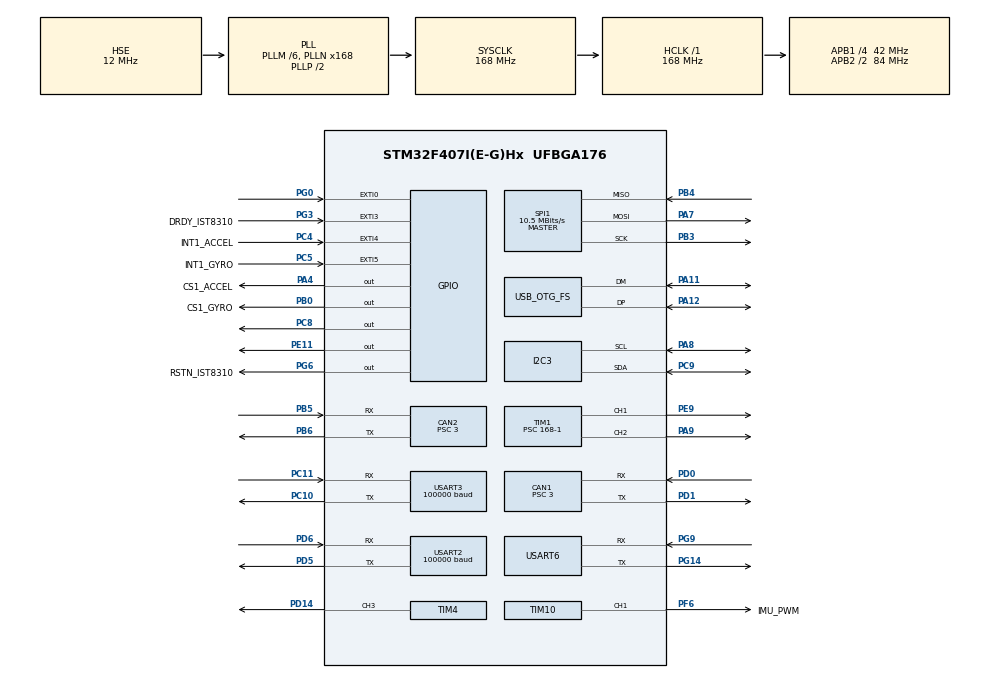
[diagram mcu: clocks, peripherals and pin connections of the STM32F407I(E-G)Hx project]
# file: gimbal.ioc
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CAN1.BS1=CAN_BS1_5TQ
CAN1.BS2=CAN_BS2_8TQ
CAN1.CalculateBaudRate=1000000
CAN1.CalculateTimeBit=1000
CAN1.CalculateTimeQuantum=71.42857142857143
CAN1.Prescaler=3
CAN2.BS1=CAN_BS1_5TQ
CAN2.BS2=CAN_BS2_8TQ
CAN2.CalculateBaudRate=1000000
CAN2.CalculateTimeBit=1000
CAN2.CalculateTimeQuantum=71.42857142857143
CAN2.Prescaler=3
Dma.Request0=USART3_RX
Dma.Request1=SPI1_RX
Dma.Request2=SPI1_TX
Dma.Request3=USART6_RX
Dma.Request4=USART6_TX
Dma.SPI1_RX.1.Direction=DMA_PERIPH_TO_MEMORY
Dma.SPI1_RX.1.FIFOMode=DMA_FIFOMODE_DISABLE
Dma.SPI1_RX.1.Instance=DMA2_Stream2
Dma.SPI1_RX.1.MemDataAlignment=DMA_MDATAALIGN_BYTE
Dma.SPI1_RX.1.MemInc=DMA_MINC_ENABLE
Dma.SPI1_RX.1.Mode=DMA_NORMAL
Dma.SPI1_RX.1.PeriphDataAlignment=DMA_PDATAALIGN_BYTE
Dma.SPI1_RX.1.PeriphInc=DMA_PINC_DISABLE
Dma.SPI1_RX.1.Priority=DMA_PRIORITY_VERY_HIGH
Dma.SPI1_TX.2.Direction=DMA_MEMORY_TO_PERIPH
Dma.SPI1_TX.2.FIFOMode=DMA_FIFOMODE_DISABLE
Dma.SPI1_TX.2.Instance=DMA2_Stream3
Dma.SPI1_TX.2.MemDataAlignment=DMA_MDATAALIGN_BYTE
Dma.SPI1_TX.2.MemInc=DMA_MINC_ENABLE
Dma.SPI1_TX.2.Mode=DMA_NORMAL
Dma.SPI1_TX.2.PeriphDataAlignment=DMA_PDATAALIGN_BYTE
Dma.SPI1_TX.2.PeriphInc=DMA_PINC_DISABLE
Dma.SPI1_TX.2.Priority=DMA_PRIORITY_HIGH
Dma.USART3_RX.0.Direction=DMA_PERIPH_TO_MEMORY
Dma.USART3_RX.0.FIFOMode=DMA_FIFOMODE_DISABLE
Dma.USART3_RX.0.Instance=DMA1_Stream1
Dma.USART3_RX.0.MemDataAlignment=DMA_MDATAALIGN_BYTE
Dma.USART3_RX.0.MemInc=DMA_MINC_ENABLE
Dma.USART3_RX.0.Mode=DMA_CIRCULAR
Dma.USART3_RX.0.PeriphDataAlignment=DMA_PDATAALIGN_BYTE
Dma.USART3_RX.0.PeriphInc=DMA_PINC_DISABLE
Dma.USART3_RX.0.Priority=DMA_PRIORITY_MEDIUM
Dma.USART6_RX.3.Direction=DMA_PERIPH_TO_MEMORY
Dma.USART6_RX.3.FIFOMode=DMA_FIFOMODE_DISABLE
Dma.USART6_RX.3.Instance=DMA2_Stream1
Dma.USART6_RX.3.MemDataAlignment=DMA_MDATAALIGN_BYTE
Dma.USART6_RX.3.MemInc=DMA_MINC_ENABLE
Dma.USART6_RX.3.Mode=DMA_CIRCULAR
Dma.USART6_RX.3.PeriphDataAlignment=DMA_PDATAALIGN_BYTE
Dma.USART6_RX.3.PeriphInc=DMA_PINC_DISABLE
Dma.USART6_RX.3.Priority=DMA_PRIORITY_HIGH
Dma.USART6_TX.4.Direction=DMA_MEMORY_TO_PERIPH
Dma.USART6_TX.4.FIFOMode=DMA_FIFOMODE_DISABLE
Dma.USART6_TX.4.Instance=DMA2_Stream6
Dma.USART6_TX.4.MemDataAlignment=DMA_MDATAALIGN_BYTE
Dma.USART6_TX.4.MemInc=DMA_MINC_ENABLE
Dma.USART6_TX.4.Mode=DMA_NORMAL
Dma.USART6_TX.4.PeriphDataAlignment=DMA_PDATAALIGN_BYTE
Dma.USART6_TX.4.PeriphInc=DMA_PINC_DISABLE
Dma.USART6_TX.4.Priority=DMA_PRIORITY_MEDIUM
I2C3.I2C_Mode=I2C_Fast
Mcu.Family=STM32F4
Mcu.Name=STM32F407I(E-G)Hx
Mcu.Package=UFBGA176
NVIC.CAN1_RX0_IRQn=true\:1\:0\:true\:false\:true\:true\:true\:true
NVIC.CAN1_TX_IRQn=true\:1\:0\:true\:false\:true\:true\:true\:true
NVIC.CAN2_RX0_IRQn=true\:1\:0\:true\:false\:true\:true\:true\:true
NVIC.DMA1_Stream1_IRQn=true\:0\:0\:false\:false\:true\:false\:true\:true
NVIC.DMA2_Stream1_IRQn=true\:0\:0\:false\:false\:true\:false\:true\:true
NVIC.DMA2_Stream2_IRQn=true\:0\:0\:false\:false\:false\:false\:true\:true
NVIC.DMA2_Stream3_IRQn=true\:0\:0\:false\:false\:true\:false\:true\:true
NVIC.DMA2_Stream6_IRQn=true\:0\:0\:false\:false\:true\:false\:true\:true
NVIC.EXTI0_IRQn=true\:2\:0\:true\:false\:true\:true\:true\:true
NVIC.EXTI3_IRQn=true\:1\:0\:true\:false\:true\:true\:true\:true
NVIC.EXTI4_IRQn=true\:1\:0\:true\:false\:true\:true\:true\:true
NVIC.EXTI9_5_IRQn=true\:1\:0\:true\:false\:true\:true\:true\:true
NVIC.OTG_FS_IRQn=true\:1\:0\:true\:false\:true\:true\:true\:true
NVIC.PriorityGroup=NVIC_PRIORITYGROUP_2
NVIC.TIM3_IRQn=true\:1\:0\:true\:false\:true\:true\:true\:true
NVIC.TIM4_IRQn=true\:3\:0\:true\:false\:true\:true\:true\:true
NVIC.TIM5_IRQn=true\:0\:0\:false\:false\:true\:true\:true\:true
NVIC.USART2_IRQn=true\:1\:0\:true\:false\:true\:true\:true\:true
NVIC.USART3_IRQn=true\:1\:0\:true\:false\:false\:true\:true\:true
NVIC.USART6_IRQn=true\:1\:0\:true\:false\:false\:true\:true\:true
PA11.Mode=Device_Only
PA11.Signal=USB_OTG_FS_DM
PA12.Mode=Device_Only
PA12.Signal=USB_OTG_FS_DP
PA13.Mode=Serial_Wire
PA13.Signal=SYS_JTMS-SWDIO
PA14.Mode=Serial_Wire
PA14.Signal=SYS_JTCK-SWCLK
PA4.GPIO_Label=CS1_ACCEL
PA4.GPIO_PuPd=GPIO_PULLUP
PA4.GPIO_Speed=GPIO_SPEED_FREQ_HIGH
PA4.PinState=GPIO_PIN_SET
PA4.Signal=GPIO_Output
PA7.GPIO_PuPd=GPIO_PULLUP
PA7.Mode=Full_Duplex_Master
PA7.Signal=SPI1_MOSI
PA8.Mode=I2C
PA8.Signal=I2C3_SCL
PA9.Signal=S_TIM1_CH2
PB0.GPIO_Label=CS1_GYRO
PB0.GPIO_ModeDefaultOutputPP=GPIO_MODE_OUTPUT_PP
PB0.GPIO_PuPd=GPIO_PULLUP
PB0.GPIO_Speed=GPIO_SPEED_FREQ_HIGH
PB0.PinState=GPIO_PIN_SET
PB0.Signal=GPIO_Output
PB3.GPIO_PuPd=GPIO_PULLUP
PB3.Mode=Full_Duplex_Master
PB3.Signal=SPI1_SCK
PB4.GPIO_PuPd=GPIO_PULLUP
PB4.Mode=Full_Duplex_Master
PB4.Signal=SPI1_MISO
PB5.Mode=CAN_Activate
PB5.Signal=CAN2_RX
PB6.Mode=CAN_Activate
PB6.Signal=CAN2_TX
PC10.Mode=Asynchronous
PC10.Signal=USART3_TX
PC11.Mode=Asynchronous
PC11.Signal=USART3_RX
PC4.GPIO_Label=INT1_ACCEL
PC4.GPIO_ModeDefaultEXTI=GPIO_MODE_IT_FALLING
PC4.GPIO_PuPd=GPIO_PULLUP
PC4.Signal=GPXTI4
PC5.GPIO_Label=INT1_GYRO
PC5.GPIO_ModeDefaultEXTI=GPIO_MODE_IT_FALLING
PC5.GPIO_PuPd=GPIO_PULLUP
PC5.Signal=GPXTI5
PC8.GPIO_PuPd=GPIO_PULLUP
PC8.GPIO_Speed=GPIO_SPEED_FREQ_HIGH
PC8.PinState=GPIO_PIN_SET
PC8.Signal=GPIO_Output
PC9.Mode=I2C
PC9.Signal=I2C3_SDA
PD0.Mode=CAN_Activate
PD0.Signal=CAN1_RX
PD1.Mode=CAN_Activate
PD1.Signal=CAN1_TX
PD14.Signal=S_TIM4_CH3
PD5.Mode=Asynchronous
PD5.Signal=USART2_TX
PD6.Mode=Asynchronous
PD6.Signal=USART2_RX
PE11.Signal=GPIO_Output
PE9.Signal=S_TIM1_CH1
PF6.GPIO_Label=IMU_PWM
PF6.GPIO_PuPd=GPIO_PULLUP
PF6.GPIO_Speed=GPIO_SPEED_FREQ_HIGH
PF6.Signal=S_TIM10_CH1
PG0.GPIO_PuPd=GPIO_PULLUP
PG0.Signal=GPXTI0
PG14.Mode=Asynchronous
PG14.Signal=USART6_TX
PG3.GPIO_Label=DRDY_IST8310
PG3.GPIO_ModeDefaultEXTI=GPIO_MODE_IT_FALLING
PG3.GPIO_PuPd=GPIO_PULLUP
PG3.Signal=GPXTI3
PG6.GPIO_Label=RSTN_IST8310
PG6.GPIO_PuPd=GPIO_PULLUP
PG6.GPIO_Speed=GPIO_SPEED_FREQ_HIGH
PG6.PinState=GPIO_PIN_SET
PG6.Signal=GPIO_Output
PG9.Mode=Asynchronous
PG9.Signal=USART6_RX
PH0-OSC_IN.Mode=HSE-External-Oscillator
PH0-OSC_IN.Signal=RCC_OSC_IN
PH1-OSC_OUT.Mode=HSE-External-Oscillator
PH1-OSC_OUT.Signal=RCC_OSC_OUT
ProjectManager.HeapSize=0x2000
ProjectManager.StackSize=0x2000
ProjectManager.TargetToolchain=MDK-ARM V5
RCC.48MHZClocksFreq_Value=48000000
RCC.AHBFreq_Value=168000000
RCC.APB1CLKDivider=RCC_HCLK_DIV4
RCC.APB1Freq_Value=42000000
RCC.APB1TimFreq_Value=84000000
RCC.APB2CLKDivider=RCC_HCLK_DIV2
RCC.APB2Freq_Value=84000000
RCC.APB2TimFreq_Value=168000000
RCC.CortexFreq_Value=168000000
RCC.HCLKFreq_Value=168000000
RCC.HSE_VALUE=12000000
RCC.HSI_VALUE=16000000
RCC.LSE_VALUE=32768
RCC.PLLM=6
RCC.PLLN=168
RCC.PLLQ=7
RCC.SYSCLKFreq_VALUE=168000000
RCC.SYSCLKSource=RCC_SYSCLKSOURCE_PLLCLK
RCC.VCOOutputFreq_Value=336000000
SH.S_TIM10_CH1.0=TIM10_CH1,PWM Generation1 CH1
SH.S_TIM1_CH1.0=TIM1_CH1,PWM Generation1 CH1
SH.S_TIM1_CH2.0=TIM1_CH2,PWM Generation2 CH2
SH.S_TIM4_CH3.0=TIM4_CH3,PWM Generation3 CH3
SPI1.BaudRatePrescaler=SPI_BAUDRATEPRESCALER_8
SPI1.CLKPhase=SPI_PHASE_2EDGE
SPI1.CLKPolarity=SPI_POLARITY_HIGH
SPI1.CalculateBaudRate=10.5 MBits/s
SPI1.Direction=SPI_DIRECTION_2LINES
SPI1.Mode=SPI_MODE_MASTER
SPI1.VirtualType=VM_MASTER
TIM1.Channel-PWM\ Generation1\ CH1=TIM_CHANNEL_1
TIM1.Channel-PWM\ Generation2\ CH2=TIM_CHANNEL_2
TIM1.Period=5000-1
TIM1.Prescaler=168-1
TIM10.Channel=TIM_CHANNEL_1
TIM10.OCFastMode_PWM=TIM_OCFAST_DISABLE
TIM10.OCPolarity_1=TIM_OCPOLARITY_HIGH
TIM10.Period=2000-1
TIM10.Prescaler=84-1
TIM3.AutoReloadPreload=TIM_AUTORELOAD_PRELOAD_ENABLE
TIM3.Period=84-1
TIM3.Prescaler=1000-1
TIM4.Channel-PWM\ Generation3\ CH3=TIM_CHANNEL_3
TIM4.Period=999
TIM4.Prescaler=0
TIM4.Pulse-PWM\ Generation3\ CH3=0
TIM5.AutoReloadPreload=TIM_AUTORELOAD_PRELOAD_ENABLE
TIM5.Period=84-1
TIM5.Prescaler=1000-1
TIM6.Period=1000-1
TIM6.Prescaler=840-1
TIM8.Period=5000-1
TIM8.Prescaler=168-1
USART2.BaudRate=100000
USART2.VirtualMode=VM_ASYNC
USART3.BaudRate=100000
USART3.VirtualMode=VM_ASYNC
USART6.VirtualMode=VM_ASYNC
USB_DEVICE.CLASS_NAME_FS=CDC
USB_DEVICE.VirtualMode-CDC_FS=Cdc
USB_DEVICE.VirtualModeFS=Cdc_FS
USB_OTG_FS.VirtualMode=Device_Only
VP_TIM10_VS_ClockSourceINT.Mode=Enable_Timer
VP_TIM1_VS_ClockSourceINT.Mode=Internal
VP_TIM3_VS_ClockSourceINT.Mode=Internal
VP_TIM4_VS_ClockSourceINT.Mode=Internal
VP_TIM5_VS_ClockSourceINT.Mode=Internal
VP_TIM6_VS_ClockSourceINT.Mode=Enable_Timer
VP_TIM8_VS_ClockSourceINT.Mode=Internal
VP_USB_DEVICE_VS_USB_DEVICE_CDC_FS.Mode=CDC_FS
board=custom

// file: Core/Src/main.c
/* USER CODE BEGIN Header */
/**
 ******************************************************************************
 * @file           : main.c
 * @brief          : Main program body
 ******************************************************************************
 * @attention
 *
 * <h2><center>&copy; Copyright (c) 2021 STMicroelectronics.
 * All rights reserved.</center></h2>
 *
 * This software component is licensed by ST under BSD 3-Clause license,
 * the "License"; You may not use this file except in compliance with the
 * License. You may obtain a copy of the License at:
 *                        opensource.org/licenses/BSD-3-Clause
 *
 ******************************************************************************
 */
/* USER CODE END Header */
#include "main.h"
#include "can.h"
#include "dma.h"
#include "i2c.h"
#include "spi.h"
#include "tim.h"
#include "usart.h"
#include "usb_device.h"
#include "gpio.h"

/* USER CODE BEGIN Includes */
#include "sent_task.h"
#include "led.h"
#include "bsp_can.h"
#include "delay.h"
#include "gimbal_task.h"
#include "chassis_task.h"
#include "shoot_task.h"
#include "bsp_imu.h"
#include "BMI088driver.h"
#include "calibrate_task.h"
#include "bsp_uart.h"
#include "blueteeth.h"
#include "referee.h"
#include "bsp_referee_uart.h"
#include "buzzer.h"
#include "ins_task.h"
#include "bsp_dwt.h"
#include "USB_Commucation.h"
#include "vision_task.h"
/* USER CODE END Includes */

/* USER CODE BEGIN PV */
uint32_t time_1ms = 0;
/* USER CODE END PV */

void SystemClock_Config(void);

/* USER CODE BEGIN 0 */
// fp32 gyro[3], accel[3], temp;
/* USER CODE END 0 */

int main(void)
{

  /* MCU Configuration--------------------------------------------------------*/

  /* Reset of all peripherals, Initializes the Flash interface and the Systick. */
  HAL_Init();

  /* Configure the system clock */
  SystemClock_Config();

  /* USER CODE BEGIN SysInit */
  // fp32 gyro[3], accel[3], temp;
  /* USER CODE END SysInit */

  /* Initialize all configured peripherals */
  MX_GPIO_Init();
  MX_DMA_Init();
  MX_CAN1_Init();
  MX_CAN2_Init();
  MX_TIM3_Init();
  MX_USART2_UART_Init();
  MX_USART3_UART_Init();
  MX_TIM6_Init();
  MX_I2C3_Init();
  MX_SPI1_Init();
  MX_TIM10_Init();
  MX_TIM4_Init();
  MX_TIM1_Init();
  MX_TIM5_Init();
  MX_USART6_UART_Init();
  MX_TIM8_Init();
  MX_USB_DEVICE_Init();
  /* USER CODE BEGIN 2 */

  DWT_Init(168);
  while (BMI088_init(&hspi1, 1) != BMI088_NO_ERROR)
    ;

  INS_Init();

  buzzer_init_example();

  HAL_TIM_Base_Start_IT(&htim3);

  HAL_TIM_Base_Start_IT(&htim5);
  referee_usart_fifo_init();
  led_init();
  Bsp_canInit();
  delay_init();
  remote_control_init();
  init_referee_struct_data();
  shoot_init();
  Gimbal_Init();
  //IMU_Init();
  //cali_param_init();
  HAL_TIM_PWM_Start(&htim1, TIM_CHANNEL_1);
  HAL_TIM_PWM_Start(&htim4, TIM_CHANNEL_3);

  time_1ms = uwTick;
  pack.point_num = 4;//默认是四点
  buzzer_setTask(&buzzer, BUZZER_DJI_STARTUP_PRIORITY);
  //三种状态 1.普通自瞄 2.大风车 3.小风车
  FSM_Init(&vision_sent.fsm, 3, 0);
  // HAL_TIM_PWM_Start(&htim1, TIM_CHANNEL_2);

  // uart_init();  //以前给上位机通讯用的
  /* USER CODE END 2 */

  /* Infinite loop */
  /* USER CODE BEGIN WHILE */

  while (1)
  {
    if (uwTick - time_1ms >= 1)
    {
      time_1ms = uwTick;
      buzzer_taskScheduler(&buzzer);
    }
    /* USER CODE END WHILE */

  }
}

void SystemClock_Config(void)
{
  RCC_OscInitTypeDef RCC_OscInitStruct = {0};
  RCC_ClkInitTypeDef RCC_ClkInitStruct = {0};

  /** Configure the main internal regulator output voltage
  */
  __HAL_RCC_PWR_CLK_ENABLE();
  __HAL_PWR_VOLTAGESCALING_CONFIG(PWR_REGULATOR_VOLTAGE_SCALE1);

  /** Initializes the RCC Oscillators according to the specified parameters
  * in the RCC_OscInitTypeDef structure.
  */
  RCC_OscInitStruct.OscillatorType = RCC_OSCILLATORTYPE_HSE;
  RCC_OscInitStruct.HSEState = RCC_HSE_ON;
  RCC_OscInitStruct.PLL.PLLState = RCC_PLL_ON;
  RCC_OscInitStruct.PLL.PLLSource = RCC_PLLSOURCE_HSE;
  RCC_OscInitStruct.PLL.PLLM = 6;
  RCC_OscInitStruct.PLL.PLLN = 168;
  RCC_OscInitStruct.PLL.PLLP = RCC_PLLP_DIV2;
  RCC_OscInitStruct.PLL.PLLQ = 7;
  if (HAL_RCC_OscConfig(&RCC_OscInitStruct) != HAL_OK)
  {
    Error_Handler();
  }

  /** Initializes the CPU, AHB and APB buses clocks
  */
  RCC_ClkInitStruct.ClockType = RCC_CLOCKTYPE_HCLK|RCC_CLOCKTYPE_SYSCLK
                              |RCC_CLOCKTYPE_PCLK1|RCC_CLOCKTYPE_PCLK2;
  RCC_ClkInitStruct.SYSCLKSource = RCC_SYSCLKSOURCE_PLLCLK;
  RCC_ClkInitStruct.AHBCLKDivider = RCC_SYSCLK_DIV1;
  RCC_ClkInitStruct.APB1CLKDivider = RCC_HCLK_DIV4;
  RCC_ClkInitStruct.APB2CLKDivider = RCC_HCLK_DIV2;

  if (HAL_RCC_ClockConfig(&RCC_ClkInitStruct, FLASH_LATENCY_5) != HAL_OK)
  {
    Error_Handler();
  }
}

void Error_Handler(void)
{
}
